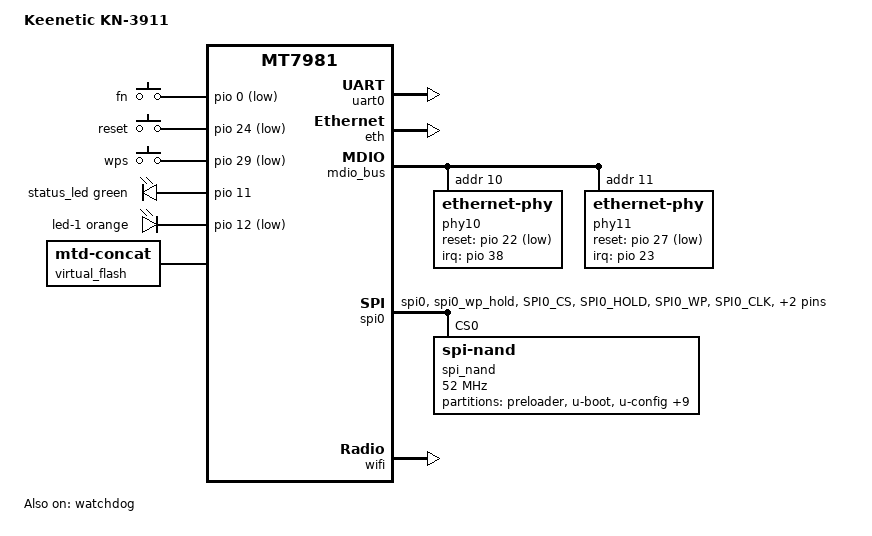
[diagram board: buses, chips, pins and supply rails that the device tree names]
// SPDX-License-Identifier: GPL-2.0-only OR MIT

/dts-v1/;

#include "mt7981.dtsi"

/ {
	model = "Keenetic KN-3911";
	compatible = "keenetic,kn-3911", "mediatek,mt7981";

	aliases {
		label-mac-device = &gmac0;
		led-boot = &status_led;
		led-failsafe = &status_led;
		led-running = &status_led;
		led-upgrade = &status_led;
		serial0 = &uart0;
	};

	chosen {
		stdout-path = "serial0:115200n8";
	};

	gpio-keys {
		compatible = "gpio-keys";

		button-fn {
			label = "fn";
			linux,code = <BTN_0>;
			gpios = <&pio 0 GPIO_ACTIVE_LOW>;
		};

		button-reset {
			label = "reset";
			linux,code = <KEY_RESTART>;
			gpios = <&pio 24 GPIO_ACTIVE_LOW>;
		};

		button-wps {
			label = "wps";
			linux,code = <KEY_WPS_BUTTON>;
			gpios = <&pio 29 GPIO_ACTIVE_LOW>;
		};
	};

	gpio-leds {
		compatible = "gpio-leds";

		status_led: led-0 {
			color = <LED_COLOR_ID_GREEN>;
			function = LED_FUNCTION_STATUS;
			gpios = <&pio 11 GPIO_ACTIVE_HIGH>;
		};

		led-1 {
			color = <LED_COLOR_ID_ORANGE>;
			function = LED_FUNCTION_WPS;
			gpios = <&pio 12 GPIO_ACTIVE_LOW>;
		};
	};

	virtual_flash {
		compatible = "mtd-concat";
		devices = <&firmware1 &firmware2>;

		partitions {
			compatible = "fixed-partitions";
			#address-cells = <1>;
			#size-cells = <1>;

			partition@0 {
				label = "kernel";
				reg = <0x0 0x600000>;
			};

			partition@400000 {
				label = "ubi";
				reg = <0x600000 0x0>;
			};
		};
	};
};

&uart0 {
	status = "okay";
};

&watchdog {
	status = "okay";
};

&eth {
	status = "okay";
	pinctrl-names = "default";
	pinctrl-0 = <&mdio_pins>;

	gmac0: mac@0 {
		compatible = "mediatek,eth-mac";
		reg = <0>;
		phy-mode = "2500base-x";
		phy-handle = <&phy10>;
		label = "lan";

		nvmem-cell-names = "mac-address";
		nvmem-cells = <&macaddr_factory_4 0>;
	};

	gmac1: mac@1 {
		compatible = "mediatek,eth-mac";
		reg = <1>;
		phy-mode = "2500base-x";
		phy-handle = <&phy11>;
		label = "wan";

		nvmem-cell-names = "mac-address";
		nvmem-cells = <&macaddr_factory_a 0>;
	};
};

&mdio_bus {
	phy10: ethernet-phy@a {
		reg = <0xa>;
		interrupt-parent = <&pio>;
		interrupts = <38 IRQ_TYPE_EDGE_FALLING>;
		reset-gpios = <&pio 22 GPIO_ACTIVE_LOW>;
		reset-assert-us = <10000>;
		reset-deassert-us = <20000>;
	};

	phy11: ethernet-phy@b {
		reg = <0xb>;
		interrupt-parent = <&pio>;
		interrupts = <23 IRQ_TYPE_EDGE_FALLING>;
		reset-gpios = <&pio 27 GPIO_ACTIVE_LOW>;
		reset-assert-us = <10000>;
		reset-deassert-us = <20000>;
	};
};

&pio {
	spi0_flash_pins: spi0-pins {
		mux {
			function = "spi";
			groups = "spi0", "spi0_wp_hold";
		};

		conf-pu {
			pins = "SPI0_CS", "SPI0_HOLD", "SPI0_WP";
			drive-strength = <MTK_DRIVE_8mA>;
			bias-pull-up = <MTK_PUPD_SET_R1R0_11>;
		};

		conf-pd {
			pins = "SPI0_CLK", "SPI0_MOSI", "SPI0_MISO";
			drive-strength = <MTK_DRIVE_8mA>;
			bias-pull-down = <MTK_PUPD_SET_R1R0_11>;
		};
	};
};

&spi0 {
	pinctrl-names = "default";
	pinctrl-0 = <&spi0_flash_pins>;
	status = "okay";

	/* Winbond W25N01GVZEIG (128M) */
	spi_nand@0 {
		#address-cells = <1>;
		#size-cells = <1>;
		compatible = "spi-nand";
		reg = <0>;

		spi-max-frequency = <52000000>;
		spi-tx-buswidth = <4>;
		spi-rx-buswidth = <4>;

		spi-cal-enable;
		spi-cal-mode = "read-data";
		spi-cal-datalen = <7>;
		spi-cal-data = /bits/ 8 <0x53 0x50 0x49 0x4e 0x41 0x4e 0x44>;
		spi-cal-addrlen = <5>;
		spi-cal-addr = /bits/ 32 <0x0 0x0 0x0 0x0 0x0>;

		mediatek,nmbm;
		mediatek,bmt-max-ratio = <1>;
		mediatek,bmt-max-reserved-blocks = <64>;

		partitions {
			compatible = "fixed-partitions";
			#address-cells = <1>;
			#size-cells = <1>;

			/* bl2 */
			partition@0 {
				label = "preloader";
				reg = <0x0 0x80000>;
				read-only;
			};

			/* fip */
			partition@80000 {
				label = "u-boot";
				reg = <0x80000 0x200000>;
				read-only;
			};

			partition@280000 {
				label = "u-config";
				reg = <0x280000 0x80000>;
				read-only;
			};

			partition@300000 {
				label = "rf-eeprom";
				reg = <0x300000 0x200000>;
				read-only;

				nvmem-layout {
					compatible = "fixed-layout";
					#address-cells = <1>;
					#size-cells = <1>;

					eeprom_factory_0: eeprom@0 {
						reg = <0x0 0x1000>;
					};

					/* lan mac */
					macaddr_factory_4: macaddr@4 {
						compatible = "mac-base";
						reg = <0x4 0x6>;
						#nvmem-cell-cells = <1>;
					};

					/* wan mac */
					macaddr_factory_a: macaddr@a {
						compatible = "mac-base";
						reg = <0xa 0x6>;
						#nvmem-cell-cells = <1>;
					};
				};
			};

			firmware1: partition@500000 {
				label = "firmware_1";
				reg = <0x500000 0x3500000>;
			};

			partition@3a00000 {
				label = "config_1";
				reg = <0x3a00000 0x80000>;
				read-only;
			};

			partition@3a80000 {
				label = "dump";
				reg = <0x3a80000 0x80000>;
				read-only;
			};

			partition@3c00000 {
				label = "u-state";
				reg = <0x3c00000 0x20000>;
				read-only;
			};

			partition@3e80000 {
				label = "u-config_res";
				reg = <0x3e80000 0x80000>;
				read-only;
			};

			partition@3f00000 {
				label = "rf-eeprom_res";
				reg = <0x3f00000 0x200000>;
				read-only;
			};

			firmware2: partition@4100000 {
				label = "firmware_2";
				reg = <0x4140000 0x3500000>;
			};

			partition@7600000 {
				label = "config_2";
				reg = <0x7600000 0x80000>;
				read-only;
			};
		};
	};
};

&wifi {
	nvmem-cell-names = "eeprom";
	nvmem-cells = <&eeprom_factory_0>;
	status = "okay";
};

&sgmiisys0 {
	/delete-node/ mediatek,pnswap;
};
